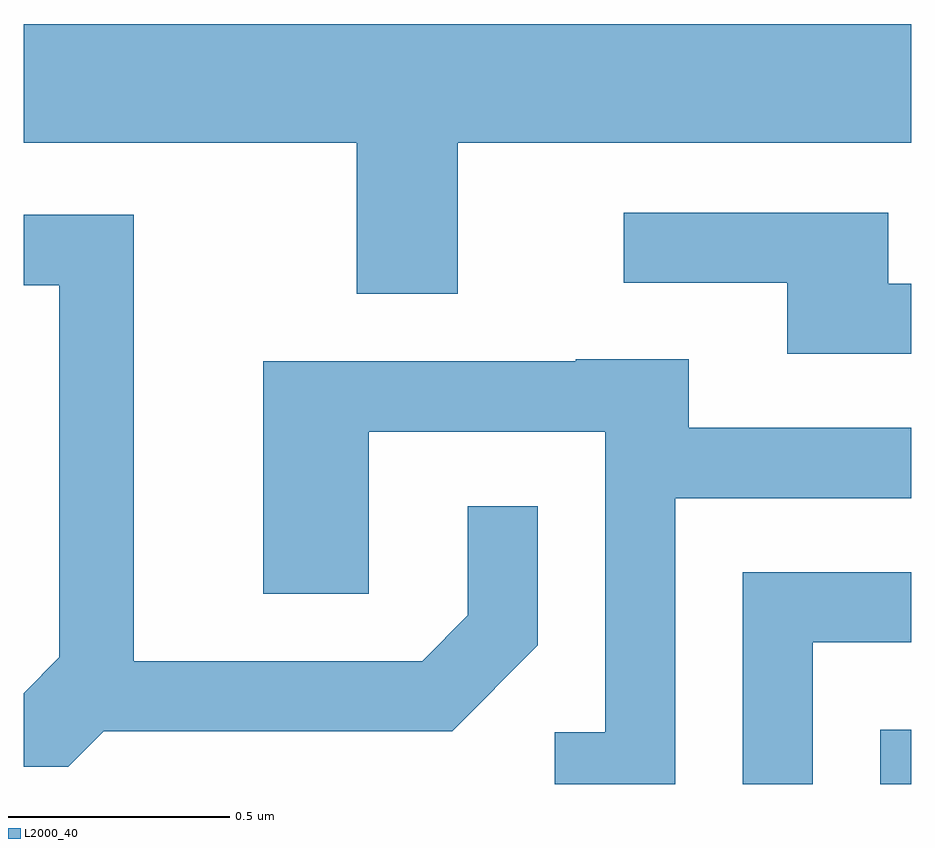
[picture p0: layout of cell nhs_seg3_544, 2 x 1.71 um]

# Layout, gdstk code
import gdstk
lib = gdstk.Library(unit=1e-6, precision=1e-09)
def R(c, l, rs):  # rectangles x0, y0, x1, y1
    for r in rs: c.add(gdstk.rectangle(r[:2], r[2:], *l))
def P(c, l, *ps):  # polygons
    for p in ps: c.add(gdstk.Polygon(p, *l))
L2000_40 = (2000, 40)

nhs_seg3_544 = lib.new_cell('nhs_seg3_544')
R(nhs_seg3_544, L2000_40, [(190.541,1248.892,190.611,1249.014)])
P(nhs_seg3_544, L2000_40, [(189.589,1250.336),(190.611,1250.336),(190.611,1250.604),(188.611,1250.604),(188.611,1250.336),(189.361,1250.336),(189.361,1249.996),(189.589,1249.996)],
  [(190.611,1250.019),(190.559,1250.019),(190.559,1250.179),(189.963,1250.179),(189.963,1250.021),(190.331,1250.021),(190.331,1249.861),(190.611,1249.861)],
  [(188.792,1249.011),(189.577,1249.011),(189.769,1249.204),(189.769,1249.518),(189.611,1249.518),(189.611,1249.272),(189.509,1249.169),(188.859,1249.169),(188.859,1250.174),(188.611,1250.174),(188.611,1250.016),(188.691,1250.016),(188.691,1249.177),(188.611,1249.096),(188.611,1248.931),(188.712,1248.931)],
  [(190.079,1249.536),(190.611,1249.536),(190.611,1249.694),(190.109,1249.694),(190.109,1249.849),(189.855,1249.849),(189.855,1249.844),(189.151,1249.844),(189.151,1249.321),(189.389,1249.321),(189.389,1249.686),(189.921,1249.686),(189.921,1249.009),(189.808,1249.009),(189.808,1248.892),(190.079,1248.892)],
  [(190.389,1249.211),(190.611,1249.211),(190.611,1249.369),(190.231,1249.369),(190.231,1248.892),(190.389,1248.892)])

lib.write_gds('nhs_seg3_544.gds')
